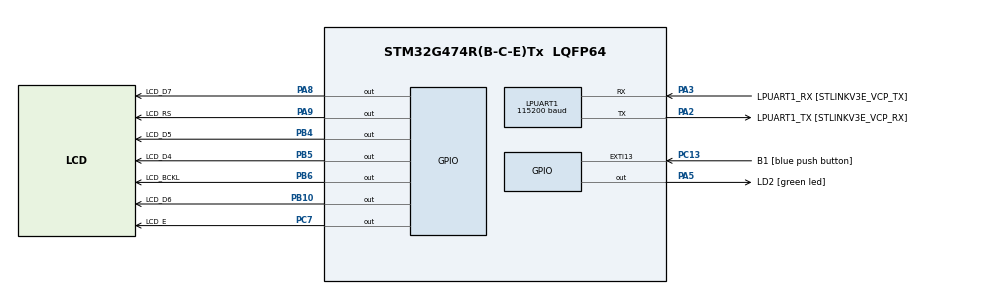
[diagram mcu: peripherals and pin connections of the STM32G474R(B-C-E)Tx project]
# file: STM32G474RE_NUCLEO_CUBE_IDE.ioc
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LPUART1.BaudRate=115200
LPUART1.WordLength=UART_WORDLENGTH_8B
Mcu.Family=STM32G4
Mcu.Name=STM32G474R(B-C-E)Tx
Mcu.Package=LQFP64
NVIC.EXTI15_10_IRQn=true\:0\:0\:false\:false\:true\:true\:true\:true
NVIC.PriorityGroup=NVIC_PRIORITYGROUP_4
PA13.GPIO_Label=T_SWDIO
PA13.Mode=Serial_Wire
PA13.Signal=SYS_JTMS-SWDIO
PA14.GPIO_Label=T_SWCLK
PA14.Mode=Serial_Wire
PA14.Signal=SYS_JTCK-SWCLK
PA2.GPIO_Label=LPUART1_TX [STLINKV3E_VCP_RX]
PA2.Mode=Asynchronous
PA2.Signal=LPUART1_TX
PA3.GPIO_Label=LPUART1_RX [STLINKV3E_VCP_TX]
PA3.Mode=Asynchronous
PA3.Signal=LPUART1_RX
PA5.GPIO_Label=LD2 [green led]
PA5.Signal=GPIO_Output
PA8.GPIO_Label=LCD_D7
PA8.Signal=GPIO_Output
PA9.GPIO_Label=LCD_RS
PA9.Signal=GPIO_Output
PB10.GPIO_Label=LCD_D6
PB10.Signal=GPIO_Output
PB3.GPIO_Label=T_SWO
PB3.Signal=SYS_JTDO-SWO
PB4.GPIO_Label=LCD_D5
PB4.Signal=GPIO_Output
PB5.GPIO_Label=LCD_D4
PB5.Signal=GPIO_Output
PB6.GPIO_Label=LCD_BCKL
PB6.GPIO_ModeDefaultOutputPP=GPIO_MODE_OUTPUT_PP
PB6.GPIO_PuPd=GPIO_NOPULL
PB6.PinState=GPIO_PIN_RESET
PB6.Signal=GPIO_Output
PC13.GPIO_Label=B1 [blue push button]
PC13.Signal=GPXTI13
PC14-OSC32_IN.Mode=LSE-External-Oscillator
PC14-OSC32_IN.Signal=RCC_OSC32_IN
PC15-OSC32_OUT.Mode=LSE-External-Oscillator
PC15-OSC32_OUT.Signal=RCC_OSC32_OUT
PC7.GPIO_Label=LCD_E
PC7.Signal=GPIO_Output
PF0-OSC_IN.Mode=HSE-External-Oscillator
PF0-OSC_IN.Signal=RCC_OSC_IN
PF1-OSC_OUT.Mode=HSE-External-Oscillator
PF1-OSC_OUT.Signal=RCC_OSC_OUT
ProjectManager.HeapSize=0x200
ProjectManager.StackSize=0x400
ProjectManager.TargetToolchain=STM32CubeIDE
RCC.ADC12Freq_Value=96000000
RCC.ADC345Freq_Value=96000000
RCC.AHBFreq_Value=96000000
RCC.APB1CLKDivider=RCC_HCLK_DIV4
RCC.APB1Freq_Value=24000000
RCC.APB1TimFreq_Value=48000000
RCC.APB2Freq_Value=96000000
RCC.APB2TimFreq_Value=96000000
RCC.CortexFreq_Value=96000000
RCC.EXTERNAL_CLOCK_VALUE=12288000
RCC.HCLKFreq_Value=96000000
RCC.HSE_VALUE=24000000
RCC.HSI48_VALUE=48000000
RCC.HSI_VALUE=16000000
RCC.PLLN=12
RCC.RTCClockSelection=RCC_RTCCLKSOURCE_LSE
RCC.SYSCLKFreq_VALUE=96000000
RCC.SYSCLKSource=RCC_SYSCLKSOURCE_PLLCLK
RCC.USBFreq_Value=96000000
RCC.VCOOutputFreq_Value=192000000
VP_SYS_VS_DBSignals.Mode=DisableDeadBatterySignals
board=NUCLEO-G474RE

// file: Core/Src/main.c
/* USER CODE BEGIN Header */
/**
 ******************************************************************************
 * @file           : main.c
 * @brief          : Main program body
 ******************************************************************************
 * @attention
 *
 * Copyright (c) 2024 STMicroelectronics.
 * All rights reserved.
 *
 * This software is licensed under terms that can be found in the LICENSE file
 * in the root directory of this software component.
 * If no LICENSE file comes with this software, it is provided AS-IS.
 *
 ******************************************************************************
 */
/* USER CODE END Header */
#include "main.h"

/* USER CODE BEGIN Includes */
#include "lcd_hd44780.h"
#include "tim_delay.h"
#include <string.h>
#include "stm32g474xx.h"
/* USER CODE END Includes */

/* USER CODE BEGIN PD */
#define SHIFT_DELAY 300
/* USER CODE END PD */

/* USER CODE BEGIN PV */
const char *demo_tekst = {"Congratulation, you have just run LCD demo example on STM32G474-Nucleo."};
const char *demo_title = {"LCD HD44780 DEMO"};

uint8_t j = 0;
uint8_t i = 0;
/* USER CODE END PV */

void SystemClock_Config(void);
static void MX_GPIO_Init(void);
static void MX_LPUART1_UART_Init(void);
/* USER CODE BEGIN PFP */
static void lcd_buf_slide_str_in(const char *str, enum LCD_LINES_e lcd_line, uint16_t speed);
static void lcd_buf_slide_str_out(const char *str, enum LCD_LINES_e lcd_line, uint16_t speed);
static void blink_backlight(uint8_t blinks_no);
/* USER CODE END PFP */

int main(void)
{

  /* MCU Configuration--------------------------------------------------------*/

  /* Reset of all peripherals, Initializes the Flash interface and the Systick. */
  LL_APB2_GRP1_EnableClock(LL_APB2_GRP1_PERIPH_SYSCFG);
  LL_APB1_GRP1_EnableClock(LL_APB1_GRP1_PERIPH_PWR);

  /* System interrupt init*/
  NVIC_SetPriorityGrouping(NVIC_PRIORITYGROUP_4);

  /** Disable the internal Pull-Up in Dead Battery pins of UCPD peripheral
  */
  LL_PWR_DisableUCPDDeadBattery();

  /* Configure the system clock */
  SystemClock_Config();

  /* Initialize all configured peripherals */
  MX_GPIO_Init();
  MX_LPUART1_UART_Init();
  /* USER CODE BEGIN 2 */
    // LL_GPIO_ResetOutputPin(LCD_BCKL_GPIO_Port,LCD_BCKL_Pin);
    // _delay_ms(1000);
    // LL_GPIO_SetOutputPin(LCD_BCKL_GPIO_Port,LCD_BCKL_Pin);
    lcd_init();
    lcd_buf_str(demo_title);
    lcd_update();
    blink_backlight(3);
  /* USER CODE END 2 */

  /* Infinite loop */
  /* USER CODE BEGIN WHILE */
    while (1)
    {
        lcd_buf_slide_str_in(demo_tekst, LINE_2, SHIFT_DELAY);
        lcd_buf_slide_str_out(demo_tekst, LINE_2, SHIFT_DELAY);
    /* USER CODE END WHILE */

    }
}

void SystemClock_Config(void)
{
  LL_FLASH_SetLatency(LL_FLASH_LATENCY_3);
  while(LL_FLASH_GetLatency() != LL_FLASH_LATENCY_3)
  {
  }
  LL_PWR_SetRegulVoltageScaling(LL_PWR_REGU_VOLTAGE_SCALE1);
  LL_RCC_HSI_Enable();
   /* Wait till HSI is ready */
  while(LL_RCC_HSI_IsReady() != 1)
  {
  }

  LL_RCC_HSI_SetCalibTrimming(64);
  LL_RCC_PLL_ConfigDomain_SYS(LL_RCC_PLLSOURCE_HSI, LL_RCC_PLLM_DIV_1, 12, LL_RCC_PLLR_DIV_2);
  LL_RCC_PLL_EnableDomain_SYS();
  LL_RCC_PLL_Enable();
   /* Wait till PLL is ready */
  while(LL_RCC_PLL_IsReady() != 1)
  {
  }

  LL_RCC_SetSysClkSource(LL_RCC_SYS_CLKSOURCE_PLL);
  LL_RCC_SetAHBPrescaler(LL_RCC_SYSCLK_DIV_2);
   /* Wait till System clock is ready */
  while(LL_RCC_GetSysClkSource() != LL_RCC_SYS_CLKSOURCE_STATUS_PLL)
  {
  }

  /* Insure 1us transition state at intermediate medium speed clock*/
  for (__IO uint32_t i = (170 >> 1); i !=0; i--);

  /* Set AHB prescaler*/
  LL_RCC_SetAHBPrescaler(LL_RCC_SYSCLK_DIV_1);
  LL_RCC_SetAPB1Prescaler(LL_RCC_APB1_DIV_4);
  LL_RCC_SetAPB2Prescaler(LL_RCC_APB2_DIV_1);

  LL_Init1msTick(96000000);

  LL_SetSystemCoreClock(96000000);
}

static void MX_LPUART1_UART_Init(void)
{

  LL_LPUART_InitTypeDef LPUART_InitStruct = {0};

  LL_GPIO_InitTypeDef GPIO_InitStruct = {0};

  LL_RCC_SetLPUARTClockSource(LL_RCC_LPUART1_CLKSOURCE_PCLK1);

  /* Peripheral clock enable */
  LL_APB1_GRP2_EnableClock(LL_APB1_GRP2_PERIPH_LPUART1);

  LL_AHB2_GRP1_EnableClock(LL_AHB2_GRP1_PERIPH_GPIOA);
  /**LPUART1 GPIO Configuration
  PA2   ------> LPUART1_TX
  PA3   ------> LPUART1_RX
  */
  GPIO_InitStruct.Pin = LPUART1_TX_Pin;
  GPIO_InitStruct.Mode = LL_GPIO_MODE_ALTERNATE;
  GPIO_InitStruct.Speed = LL_GPIO_SPEED_FREQ_LOW;
  GPIO_InitStruct.OutputType = LL_GPIO_OUTPUT_PUSHPULL;
  GPIO_InitStruct.Pull = LL_GPIO_PULL_NO;
  GPIO_InitStruct.Alternate = LL_GPIO_AF_12;
  LL_GPIO_Init(LPUART1_TX_GPIO_Port, &GPIO_InitStruct);

  GPIO_InitStruct.Pin = LPUART1_RX_Pin;
  GPIO_InitStruct.Mode = LL_GPIO_MODE_ALTERNATE;
  GPIO_InitStruct.Speed = LL_GPIO_SPEED_FREQ_LOW;
  GPIO_InitStruct.OutputType = LL_GPIO_OUTPUT_PUSHPULL;
  GPIO_InitStruct.Pull = LL_GPIO_PULL_NO;
  GPIO_InitStruct.Alternate = LL_GPIO_AF_12;
  LL_GPIO_Init(LPUART1_RX_GPIO_Port, &GPIO_InitStruct);

  LPUART_InitStruct.PrescalerValue = LL_LPUART_PRESCALER_DIV1;
  LPUART_InitStruct.BaudRate = 115200;
  LPUART_InitStruct.DataWidth = LL_LPUART_DATAWIDTH_8B;
  LPUART_InitStruct.StopBits = LL_LPUART_STOPBITS_1;
  LPUART_InitStruct.Parity = LL_LPUART_PARITY_NONE;
  LPUART_InitStruct.TransferDirection = LL_LPUART_DIRECTION_TX_RX;
  LPUART_InitStruct.HardwareFlowControl = LL_LPUART_HWCONTROL_NONE;
  LL_LPUART_Init(LPUART1, &LPUART_InitStruct);
  LL_LPUART_SetTXFIFOThreshold(LPUART1, LL_LPUART_FIFOTHRESHOLD_1_8);
  LL_LPUART_SetRXFIFOThreshold(LPUART1, LL_LPUART_FIFOTHRESHOLD_1_8);
  LL_LPUART_DisableFIFO(LPUART1);

  LL_LPUART_Enable(LPUART1);

  /* Polling LPUART1 initialisation */
  while((!(LL_LPUART_IsActiveFlag_TEACK(LPUART1))) || (!(LL_LPUART_IsActiveFlag_REACK(LPUART1))))
  {
  }

}

static void MX_GPIO_Init(void)
{
  LL_EXTI_InitTypeDef EXTI_InitStruct = {0};
  LL_GPIO_InitTypeDef GPIO_InitStruct = {0};

  /* GPIO Ports Clock Enable */
  LL_AHB2_GRP1_EnableClock(LL_AHB2_GRP1_PERIPH_GPIOC);
  LL_AHB2_GRP1_EnableClock(LL_AHB2_GRP1_PERIPH_GPIOF);
  LL_AHB2_GRP1_EnableClock(LL_AHB2_GRP1_PERIPH_GPIOA);
  LL_AHB2_GRP1_EnableClock(LL_AHB2_GRP1_PERIPH_GPIOB);

  /**/
  LL_GPIO_ResetOutputPin(LD2_GPIO_Port, LD2_Pin);

  /**/
  LL_GPIO_ResetOutputPin(LCD_D6_GPIO_Port, LCD_D6_Pin);

  /**/
  LL_GPIO_ResetOutputPin(LCD_E_GPIO_Port, LCD_E_Pin);

  /**/
  LL_GPIO_ResetOutputPin(LCD_D7_GPIO_Port, LCD_D7_Pin);

  /**/
  LL_GPIO_ResetOutputPin(LCD_RS_GPIO_Port, LCD_RS_Pin);

  /**/
  LL_GPIO_ResetOutputPin(LCD_D5_GPIO_Port, LCD_D5_Pin);

  /**/
  LL_GPIO_ResetOutputPin(LCD_D4_GPIO_Port, LCD_D4_Pin);

  /**/
  LL_GPIO_ResetOutputPin(LCD_BCKL_GPIO_Port, LCD_BCKL_Pin);

  /**/
  LL_SYSCFG_SetEXTISource(LL_SYSCFG_EXTI_PORTC, LL_SYSCFG_EXTI_LINE13);

  /**/
  EXTI_InitStruct.Line_0_31 = LL_EXTI_LINE_13;
  EXTI_InitStruct.LineCommand = ENABLE;
  EXTI_InitStruct.Mode = LL_EXTI_MODE_IT;
  EXTI_InitStruct.Trigger = LL_EXTI_TRIGGER_RISING;
  LL_EXTI_Init(&EXTI_InitStruct);

  /**/
  LL_GPIO_SetPinPull(B1_GPIO_Port, B1_Pin, LL_GPIO_PULL_NO);

  /**/
  LL_GPIO_SetPinMode(B1_GPIO_Port, B1_Pin, LL_GPIO_MODE_INPUT);

  /**/
  GPIO_InitStruct.Pin = LD2_Pin;
  GPIO_InitStruct.Mode = LL_GPIO_MODE_OUTPUT;
  GPIO_InitStruct.Speed = LL_GPIO_SPEED_FREQ_LOW;
  GPIO_InitStruct.OutputType = LL_GPIO_OUTPUT_PUSHPULL;
  GPIO_InitStruct.Pull = LL_GPIO_PULL_NO;
  LL_GPIO_Init(LD2_GPIO_Port, &GPIO_InitStruct);

  /**/
  GPIO_InitStruct.Pin = LCD_D6_Pin;
  GPIO_InitStruct.Mode = LL_GPIO_MODE_OUTPUT;
  GPIO_InitStruct.Speed = LL_GPIO_SPEED_FREQ_LOW;
  GPIO_InitStruct.OutputType = LL_GPIO_OUTPUT_PUSHPULL;
  GPIO_InitStruct.Pull = LL_GPIO_PULL_NO;
  LL_GPIO_Init(LCD_D6_GPIO_Port, &GPIO_InitStruct);

  /**/
  GPIO_InitStruct.Pin = LCD_E_Pin;
  GPIO_InitStruct.Mode = LL_GPIO_MODE_OUTPUT;
  GPIO_InitStruct.Speed = LL_GPIO_SPEED_FREQ_LOW;
  GPIO_InitStruct.OutputType = LL_GPIO_OUTPUT_PUSHPULL;
  GPIO_InitStruct.Pull = LL_GPIO_PULL_NO;
  LL_GPIO_Init(LCD_E_GPIO_Port, &GPIO_InitStruct);

  /**/
  GPIO_InitStruct.Pin = LCD_D7_Pin;
  GPIO_InitStruct.Mode = LL_GPIO_MODE_OUTPUT;
  GPIO_InitStruct.Speed = LL_GPIO_SPEED_FREQ_LOW;
  GPIO_InitStruct.OutputType = LL_GPIO_OUTPUT_PUSHPULL;
  GPIO_InitStruct.Pull = LL_GPIO_PULL_NO;
  LL_GPIO_Init(LCD_D7_GPIO_Port, &GPIO_InitStruct);

  /**/
  GPIO_InitStruct.Pin = LCD_RS_Pin;
  GPIO_InitStruct.Mode = LL_GPIO_MODE_OUTPUT;
  GPIO_InitStruct.Speed = LL_GPIO_SPEED_FREQ_LOW;
  GPIO_InitStruct.OutputType = LL_GPIO_OUTPUT_PUSHPULL;
  GPIO_InitStruct.Pull = LL_GPIO_PULL_NO;
  LL_GPIO_Init(LCD_RS_GPIO_Port, &GPIO_InitStruct);

  /**/
  GPIO_InitStruct.Pin = LCD_D5_Pin;
  GPIO_InitStruct.Mode = LL_GPIO_MODE_OUTPUT;
  GPIO_InitStruct.Speed = LL_GPIO_SPEED_FREQ_LOW;
  GPIO_InitStruct.OutputType = LL_GPIO_OUTPUT_PUSHPULL;
  GPIO_InitStruct.Pull = LL_GPIO_PULL_NO;
  LL_GPIO_Init(LCD_D5_GPIO_Port, &GPIO_InitStruct);

  /**/
  GPIO_InitStruct.Pin = LCD_D4_Pin;
  GPIO_InitStruct.Mode = LL_GPIO_MODE_OUTPUT;
  GPIO_InitStruct.Speed = LL_GPIO_SPEED_FREQ_LOW;
  GPIO_InitStruct.OutputType = LL_GPIO_OUTPUT_PUSHPULL;
  GPIO_InitStruct.Pull = LL_GPIO_PULL_NO;
  LL_GPIO_Init(LCD_D4_GPIO_Port, &GPIO_InitStruct);

  /**/
  GPIO_InitStruct.Pin = LCD_BCKL_Pin;
  GPIO_InitStruct.Mode = LL_GPIO_MODE_OUTPUT;
  GPIO_InitStruct.Speed = LL_GPIO_SPEED_FREQ_LOW;
  GPIO_InitStruct.OutputType = LL_GPIO_OUTPUT_PUSHPULL;
  GPIO_InitStruct.Pull = LL_GPIO_PULL_NO;
  LL_GPIO_Init(LCD_BCKL_GPIO_Port, &GPIO_InitStruct);

  /* EXTI interrupt init*/
  NVIC_SetPriority(EXTI15_10_IRQn, NVIC_EncodePriority(NVIC_GetPriorityGrouping(),0, 0));
  NVIC_EnableIRQ(EXTI15_10_IRQn);

}

/* USER CODE BEGIN 4 */
void lcd_buf_slide_str_out(const char *str, enum LCD_LINES_e lcd_line, uint16_t speed)
{
    uint8_t str_end_flag = 0;
    for (j = 0; j <= strlen(str); j++)
    {
        _delay_ms(speed);
        lcd_buf_locate(lcd_line, C1);
        for (i = 0; i < LCD_X; i++)
        {
            if ((str[j + i] != '\0') && (str_end_flag == 0))
            {
                lcd_buf_char(str[j + i]);
            }
            else
            {
                str_end_flag = 0xFF;
                lcd_buf_char(' ');
            }
        }
        str_end_flag = 0;
        lcd_update();
    }
}

void lcd_buf_slide_str_in(const char *str, enum LCD_LINES_e lcd_line, uint16_t speed)
{
    for (i = LCD_X - 1; i > C1; i--)
    {
        _delay_ms(speed);
        lcd_buf_locate(lcd_line, i);
        for (uint8_t j = 0; j < (LCD_X - i); j++)
        {
            lcd_buf_char(str[j]);
        }
        lcd_update();
    }
}

static void blink_backlight(uint8_t blinks_no)
{
    for(uint8_t i=0; i<blinks_no; i++)
    {
        lcd_disable_backlight();
        _delay_ms(500);
        lcd_enable_backlight();
        _delay_ms(500);
    }
}
/* USER CODE END 4 */

void Error_Handler(void)
{
    __disable_irq();
    while (1)
    {
    }
}
